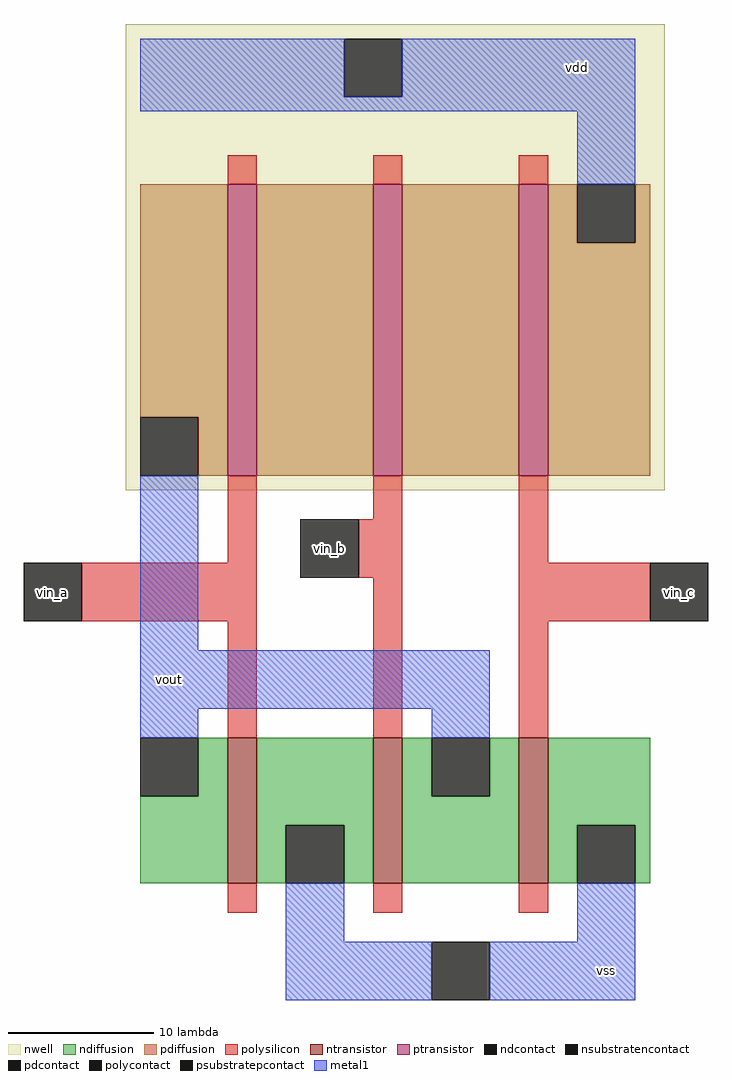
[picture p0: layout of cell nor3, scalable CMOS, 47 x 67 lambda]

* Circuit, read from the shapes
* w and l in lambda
.subckt nor3 vdd vin_a vin_b vin_c vout vss
M1 vss vin_a vout vss nfet w=10 l=2
M2 vout vin_b vss vss nfet w=10 l=2
M3 vss vin_c vout vss nfet w=10 l=2
M4 n1 vin_a vout vdd pfet w=20 l=2
M5 n2 vin_b n1 vdd pfet w=20 l=2
M6 vdd vin_c n2 vdd pfet w=20 l=2
.ends

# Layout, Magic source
magic
tech scmos
<< nwell >>
rect -12 7 25 39
<< polysilicon >>
rect -5 28 -3 30
rect 5 28 7 30
rect 15 28 17 30
rect -5 2 -3 8
rect 5 5 7 8
rect -15 -2 -3 2
rect 4 1 7 5
rect -5 -10 -3 -2
rect 5 -10 7 1
rect 15 2 17 8
rect 15 -2 24 2
rect 15 -10 17 -2
rect -5 -22 -3 -20
rect 5 -22 7 -20
rect 15 -22 17 -20
<< ndiffusion >>
rect -7 -14 -5 -10
rect -11 -20 -5 -14
rect -3 -16 5 -10
rect -3 -20 -1 -16
rect 3 -20 5 -16
rect 7 -14 9 -10
rect 13 -14 15 -10
rect 7 -20 15 -14
rect 17 -16 24 -10
rect 17 -20 19 -16
rect 23 -20 24 -16
<< pdiffusion >>
rect -11 12 -5 28
rect -7 8 -5 12
rect -3 8 5 28
rect 7 8 15 28
rect 17 24 19 28
rect 23 24 24 28
rect 17 8 24 24
<< metal1 >>
rect -11 34 3 38
rect 7 34 23 38
rect -11 33 23 34
rect 19 28 23 33
rect -11 -4 -7 8
rect -11 -8 13 -4
rect -11 -10 -7 -8
rect 9 -10 13 -8
rect -1 -24 3 -20
rect 19 -24 23 -20
rect -1 -28 9 -24
rect 13 -28 23 -24
<< ntransistor >>
rect -5 -20 -3 -10
rect 5 -20 7 -10
rect 15 -20 17 -10
<< ptransistor >>
rect -5 8 -3 28
rect 5 8 7 28
rect 15 8 17 28
<< polycontact >>
rect -19 -2 -15 2
rect 0 1 4 5
rect 24 -2 28 2
<< ndcontact >>
rect -11 -14 -7 -10
rect -1 -20 3 -16
rect 9 -14 13 -10
rect 19 -20 23 -16
<< pdcontact >>
rect -11 8 -7 12
rect 19 24 23 28
<< psubstratepcontact >>
rect 9 -28 13 -24
<< nsubstratencontact >>
rect 3 34 7 38
<< labels >>
rlabel polycontact -19 -2 -15 2 7 vin_a
rlabel polycontact 0 1 4 5 7 vin_b
rlabel polycontact 24 -2 28 2 3 vin_c
rlabel metal1 -11 -8 -7 -4 7 vout
rlabel metal1 19 -28 23 -24 5 vss
rlabel metal1 17 34 21 38 1 vdd
<< end >>
